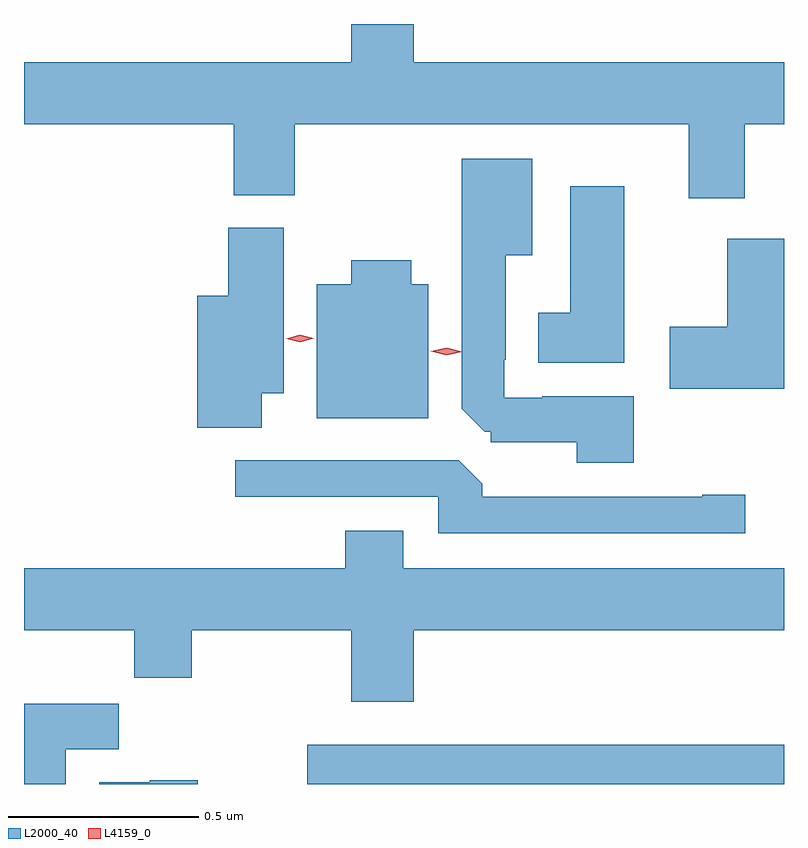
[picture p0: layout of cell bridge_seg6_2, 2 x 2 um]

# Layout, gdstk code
import gdstk
lib = gdstk.Library(unit=1e-6, precision=1e-09)
def R(c, l, rs):  # rectangles x0, y0, x1, y1
    for r in rs: c.add(gdstk.rectangle(r[:2], r[2:], *l))
def P(c, l, *ps):  # polygons
    for p in ps: c.add(gdstk.Polygon(p, *l))
L2000_40 = (2000, 40)
L4159_0 = (4159, 0)

bridge_seg6_2 = lib.new_cell('bridge_seg6_2')
R(bridge_seg6_2, L2000_40, [(932.125,949.596,933.379,949.699)])
P(bridge_seg6_2, L2000_40, [(933.276,951.332),(933.379,951.332),(933.379,951.496),(932.404,951.496),(932.404,951.596),(932.24,951.596),(932.24,951.496),(931.379,951.496),(931.379,951.332),(931.931,951.332),(931.931,951.145),(932.091,951.145),(932.091,951.332),(933.128,951.332),(933.128,951.138),(933.276,951.138)],
  [(932.983,950.617),(932.743,950.617),(932.743,950.613),(932.643,950.613),(932.643,950.713),(932.647,950.713),(932.647,950.987),(932.716,950.987),(932.716,951.241),(932.531,951.241),(932.531,950.583),(932.591,950.523),(932.607,950.523),(932.607,950.496),(932.834,950.496),(932.834,950.441),(932.983,950.441)],
  [(932.959,951.169),(932.816,951.169),(932.816,950.836),(932.732,950.836),(932.732,950.705),(932.959,950.705)],
  [(932.005,950.624),(932.062,950.624),(932.062,951.06),(931.916,951.06),(931.916,950.881),(931.835,950.881),(931.835,950.533),(932.005,950.533)],
  [(933.379,951.031),(933.23,951.031),(933.23,950.799),(933.078,950.799),(933.078,950.636),(933.379,950.636)],
  [(932.443,950.911),(932.398,950.911),(932.398,950.974),(932.24,950.974),(932.24,950.911),(932.15,950.911),(932.15,950.558),(932.443,950.558)],
  [(933.277,950.357),(933.164,950.357),(933.164,950.352),(932.585,950.352),(932.585,950.386),(932.523,950.448),(931.935,950.448),(931.935,950.352),(932.469,950.352),(932.469,950.256),(933.277,950.256)],
  [(932.404,950),(933.379,950),(933.379,950.164),(932.377,950.164),(932.377,950.263),(932.225,950.263),(932.225,950.164),(931.379,950.164),(931.379,950),(931.669,950),(931.669,949.876),(931.821,949.876),(931.821,950),(932.24,950),(932.24,949.812),(932.404,949.812)],
  [(931.489,949.688),(931.628,949.688),(931.628,949.807),(931.379,949.807),(931.379,949.596),(931.489,949.596)],
  [(931.836,949.606),(931.71,949.606),(931.71,949.6),(931.577,949.6),(931.577,949.596),(931.836,949.596)])
P(bridge_seg6_2, L4159_0, [(932.106,950.758),(932.069,950.768),(932.069,950.768),(932.069,950.768),(932.105,950.778),(932.142,950.769),(932.142,950.769),(932.142,950.769)],
  [(932.491,950.724),(932.45,950.735),(932.45,950.735),(932.45,950.735),(932.491,950.744),(932.532,950.734),(932.532,950.734),(932.532,950.734)])

lib.write_gds('bridge_seg6_2.gds')
